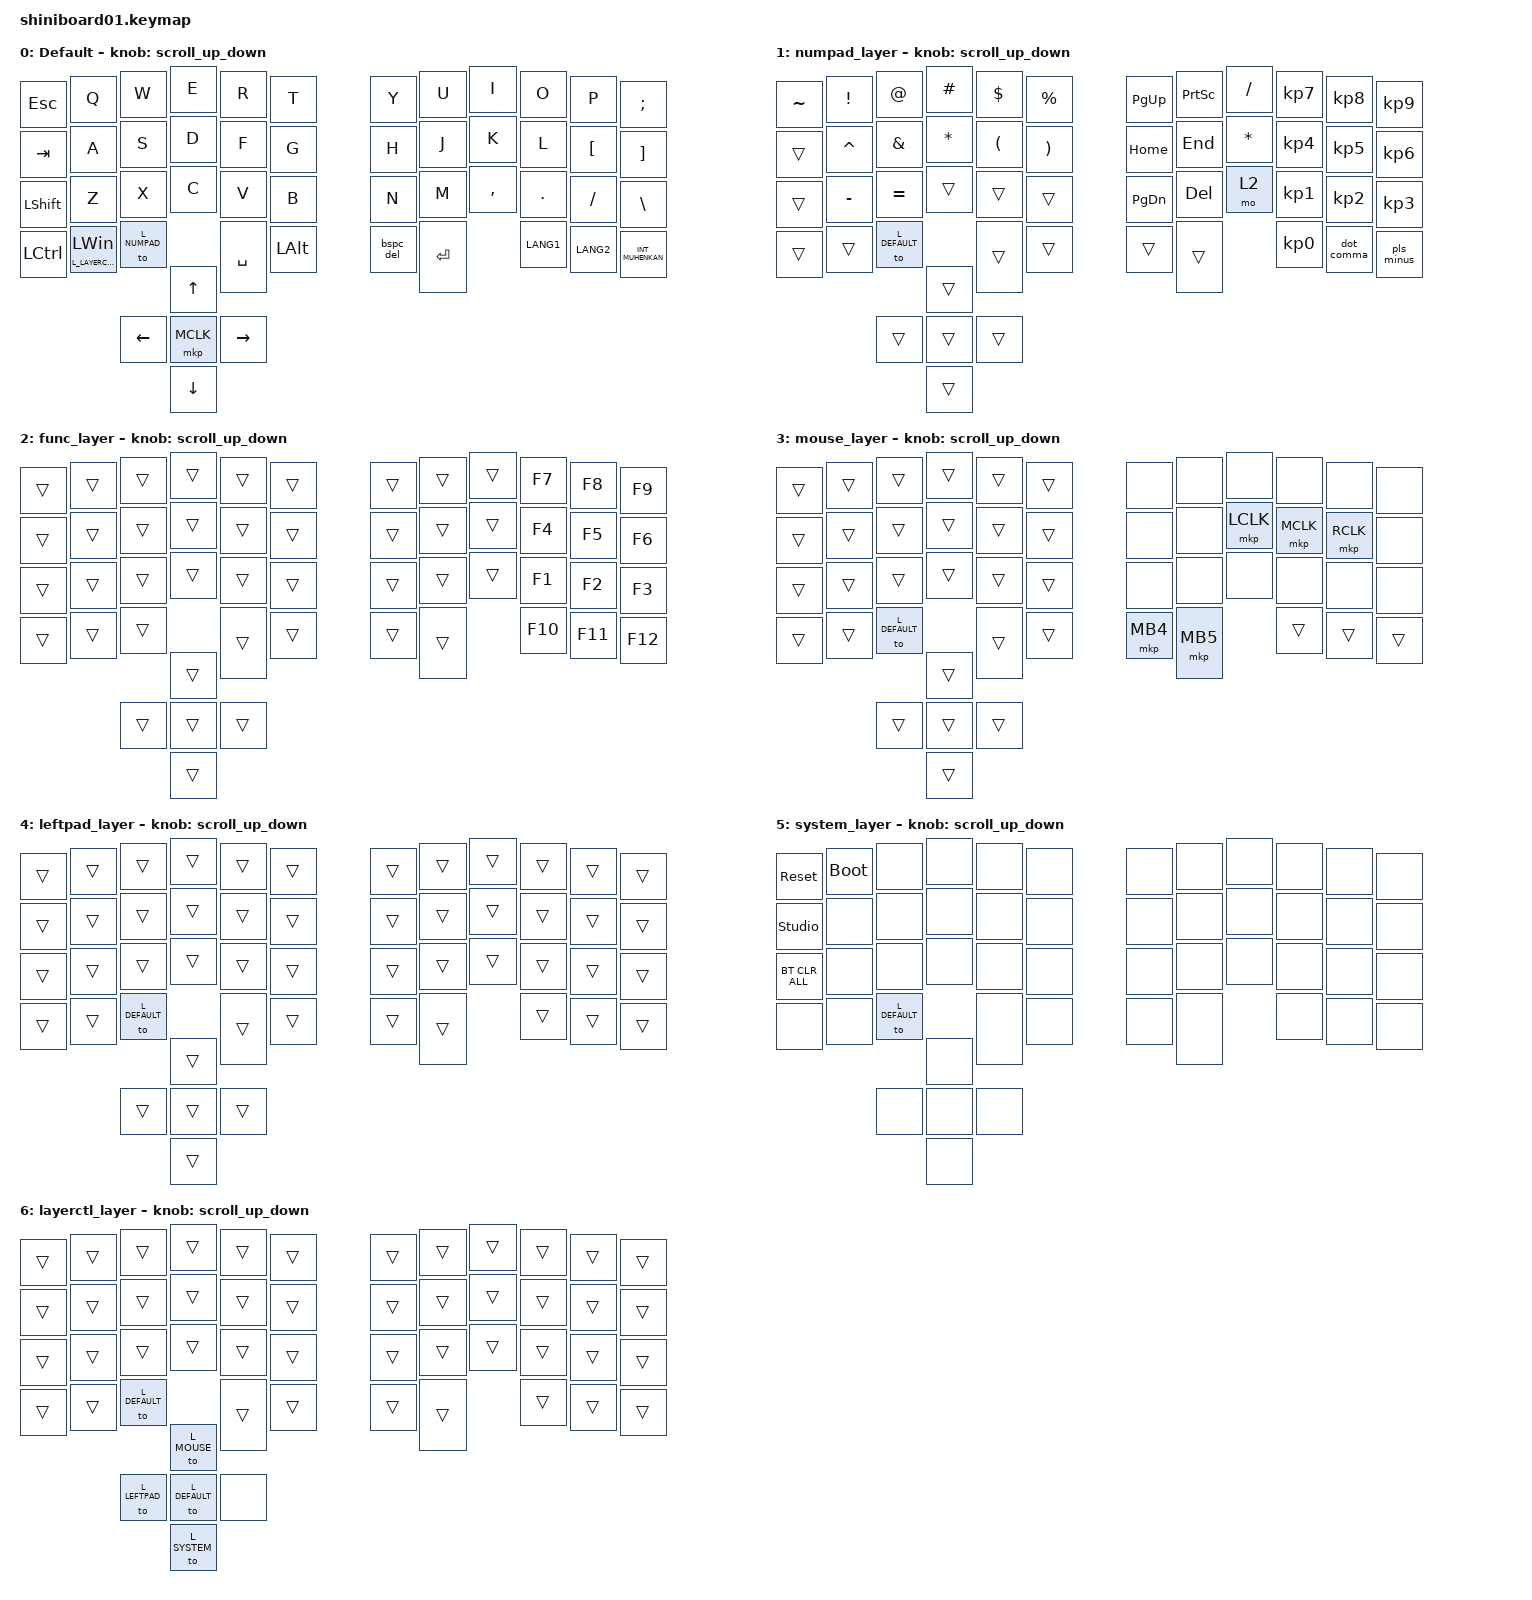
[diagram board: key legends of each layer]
/*
 * Copyright (c) 2020 The ZMK Contributors
 *
 * SPDX-License-Identifier: MIT
 */

#include <behaviors.dtsi>
#include <behaviors/mouse_keys.dtsi>
#include <dt-bindings/zmk/bt.h>
#include <dt-bindings/zmk/keys.h>
#include <dt-bindings/zmk/pointing.h>
#include <dt-bindings/zmk/pointing.h>

#define L_DEFAULT  0
#define L_NUMPAD   1
#define L_FUNC     2
#define L_MOUSE    3
#define L_LEFTPAD  4
#define L_SYSTEM   5
#define L_LAYERCTL 6

// Mouse Scroll Value
#define ZMK_POINTING_DEFAULT_SCRL_VAL 100

/ {
    behaviors {
        // Mouse Scroll

        scroll_up_down: behavior_sensor_rotate_mouse_wheel_up_down {
            compatible = "zmk,behavior-sensor-rotate";
            #sensor-binding-cells = <0>;
            bindings = <&msc SCRL_UP>, <&msc SCRL_DOWN>;

            tap-ms = <20>;
        };

        dot_comma: dot_comma {
            compatible = "zmk,behavior-mod-morph";
            #binding-cells = <0>;
            bindings = <&kp DOT>, <&kp COMMA>;

            mods = <(MOD_LSFT|MOD_RSFT)>;
            keep-mods = <(MOD_RSFT)>;
            label = "DOT_COMMA";
        };

        pls_minus: pls_minus {
            compatible = "zmk,behavior-mod-morph";
            #binding-cells = <0>;
            bindings = <&kp PLUS>, <&kp MINUS>;

            mods = <(MOD_LSFT|MOD_RSFT)>;
            keep-mods = <(MOD_RSFT)>;
            label = "PLS_MINUS";
        };
        
        bspc_del: backspace_delete {
            compatible = "zmk,behavior-mod-morph";
            #binding-cells = <0>;
            bindings = <&kp BACKSPACE>, <&kp DELETE>;

            mods = <(MOD_LSFT|MOD_RSFT)>;
            keep-mods = <(MOD_RSFT)>;
            label = "BCSP_DEL";
        };
    };

    keymap {
        compatible = "zmk,keymap";

        default_layer {
            display-name = "Default";
            sensor-bindings = <&scroll_up_down>;
            bindings = <
&kp ESC  &kp Q  &kp W  &kp E  &kp R  &kp T  &kp Y  &kp U  &kp I  &kp O  &kp P  &kp SEMI  &kp TAB  &kp A  &kp S  &kp D  &kp F  &kp G  &kp H  &kp J  &kp K  &kp L  &kp LBKT  &kp RBKT  &kp LSHFT  &kp Z  &kp X  &kp C  &kp V  &kp B  &kp N  &kp M  &kp COMMA  &kp PERIOD  &kp SLASH  &kp BSLH  &kp LCTRL  &lt L_LAYERCTL LWIN  &to L_NUMPAD  &kp SPACE  &kp LALT  &bspc_del  &kp RET  &kp LANG1  &kp LANG2  &kp INT_MUHENKAN  &kp UP  &kp LEFT  &kp DOWN  &kp RIGHT  &mkp MCLK
            >;
        };

        numpad_layer {
            display-name = "numpad_layer";
            sensor-bindings = <&scroll_up_down>;
            bindings = <
&kp TILDE  &kp EXCL  &kp AT  &kp HASH  &kp DLLR  &kp PRCNT  &kp PAGE_UP  &kp PRINTSCREEN  &kp SLASH  &kp KP_NUMBER_7  &kp KP_NUMBER_8  &kp KP_NUMBER_9  &trans  &kp CARET  &kp AMPS  &kp STAR  &kp LPAR  &kp RPAR  &kp HOME  &kp END  &kp ASTERISK  &kp KP_NUMBER_4  &kp KP_NUMBER_5  &kp KP_NUMBER_6  &trans  &kp MINUS  &kp EQUAL  &trans  &trans  &trans  &kp PAGE_DOWN  &kp DEL  &mo 2  &kp KP_NUMBER_1  &kp KP_NUMBER_2  &kp KP_NUMBER_3  &trans  &trans  &to L_DEFAULT  &trans  &trans  &trans  &trans  &kp KP_NUMBER_0  &dot_comma  &pls_minus  &trans  &trans  &trans  &trans  &trans
            >;
        };

        func_layer {
            display-name = "func_layer";
            sensor-bindings = <&scroll_up_down>;
            bindings = <
&trans  &trans  &trans  &trans  &trans  &trans  &trans  &trans  &trans  &kp F7  &kp F8  &kp F9  &trans  &trans  &trans  &trans  &trans  &trans  &trans  &trans  &trans  &kp F4  &kp F5  &kp F6  &trans  &trans  &trans  &trans  &trans  &trans  &trans  &trans  &trans  &kp F1  &kp F2  &kp F3  &trans  &trans  &trans  &trans  &trans  &trans  &trans  &kp F10  &kp F11  &kp F12  &trans  &trans  &trans  &trans  &trans
            >;
        };

        mouse_layer {
            display-name = "mouse_layer";
            sensor-bindings = <&scroll_up_down>;
            bindings = <
&trans  &trans  &trans  &trans  &trans  &trans  &none  &none  &none  &none  &none  &none  &trans  &trans  &trans  &trans  &trans  &trans  &none  &none  &mkp LCLK  &mkp MCLK  &mkp RCLK  &none  &trans  &trans  &trans  &trans  &trans  &trans  &none  &none  &none  &none  &none  &none  &trans  &trans  &to L_DEFAULT  &trans  &trans  &mkp MB4  &mkp MB5  &trans  &trans  &trans  &trans  &trans  &trans  &trans  &trans
            >;
        };

        leftpad_layer {
            display-name = "leftpad_layer";
            sensor-bindings = <&scroll_up_down>;
            bindings = <
&trans  &trans  &trans  &trans  &trans  &trans  &trans  &trans  &trans  &trans  &trans  &trans  &trans  &trans  &trans  &trans  &trans  &trans  &trans  &trans  &trans  &trans  &trans  &trans  &trans  &trans  &trans  &trans  &trans  &trans  &trans  &trans  &trans  &trans  &trans  &trans  &trans  &trans  &to L_DEFAULT  &trans  &trans  &trans  &trans  &trans  &trans  &trans  &trans  &trans  &trans  &trans  &trans
            >;
        };

        system_layer {
            display-name = "system_layer";
            sensor-bindings = <&scroll_up_down>;
            bindings = <
&sys_reset  &bootloader  &none  &none  &none  &none  &none  &none  &none  &none  &none  &none  &studio_unlock  &none  &none  &none  &none  &none  &none  &none  &none  &none  &none  &none  &bt BT_CLR_ALL  &none  &none  &none  &none  &none  &none  &none  &none  &none  &none  &none  &none  &none  &to L_DEFAULT  &none  &none  &none  &none  &none  &none  &none  &none  &none  &none  &none  &none
            >;
        };

        layerctl_layer {
            display-name = "layerctl_layer";
            sensor-bindings = <&scroll_up_down>;
            bindings = <
&trans  &trans  &trans  &trans  &trans  &trans  &trans  &trans  &trans  &trans  &trans  &trans  &trans  &trans  &trans  &trans  &trans  &trans  &trans  &trans  &trans  &trans  &trans  &trans  &trans  &trans  &trans  &trans  &trans  &trans  &trans  &trans  &trans  &trans  &trans  &trans  &trans  &trans  &to L_DEFAULT  &trans  &trans  &trans  &trans  &trans  &trans  &trans  &to L_MOUSE  &to L_LEFTPAD  &to L_SYSTEM  &none  &to L_DEFAULT
            >;
        };
    };
};
